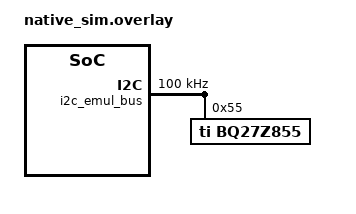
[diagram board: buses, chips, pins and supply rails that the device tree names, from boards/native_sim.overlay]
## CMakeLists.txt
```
# SPDX-License-Identifier: Apache-2.0

cmake_minimum_required(VERSION 3.20.0)
find_package(Zephyr REQUIRED HINTS $ENV{ZEPHYR_BASE})
project(bq27z8xx_buffer_props)

target_sources(app PRIVATE src/test_bq27z8xx_buffer_props.c)

# BQ27Z8XX_BUFFER_PROP_* and BQ27Z855_BUFFER_PROP_* are in driver-private headers.
target_include_directories(app PRIVATE ${ZEPHYR_BASE}/drivers/fuel_gauge/bq27z8xx)
```

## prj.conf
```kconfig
CONFIG_ZTEST=y
CONFIG_LOG=y
CONFIG_FUEL_GAUGE=y
```

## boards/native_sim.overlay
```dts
/*
 * SPDX-License-Identifier: Apache-2.0
 */

/ {
	i2c_emul_bus: i2c@100 {
		compatible = "zephyr,i2c-emul-controller";
		status = "okay";
		reg = <0x100 0x10>;
		#address-cells = <1>;
		#size-cells = <0>;
		clock-frequency = <100000>;

		bq27z855: bq27z855@55 {
			compatible = "ti,bq27z855";
			status = "okay";
			reg = <0x55>;
		};
	};
};
```

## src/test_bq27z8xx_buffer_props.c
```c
/*
 * Copyright (c) 2026, Texas Instruments Incorporated
 *
 * SPDX-License-Identifier: Apache-2.0
 */

#include <zephyr/device.h>
#include <zephyr/logging/log.h>
#include <zephyr/ztest.h>
#include <zephyr/ztest_assert.h>
#include <zephyr/drivers/fuel_gauge.h>

#include "bq27z855.h"

LOG_MODULE_REGISTER(test_bq27z8xx_buffer_props, LOG_LEVEL_DBG);

struct bq27z8xx_buffer_props_fixture {
	const struct device *dev;
};

static void *bq27z8xx_buffer_props_setup(void)
{
	static ZTEST_DMEM struct bq27z8xx_buffer_props_fixture fixture;

	fixture.dev = DEVICE_DT_GET_ANY(ti_bq27z855);

	zassert_true(device_is_ready(fixture.dev), "BQ27Z8XX device not ready");

	return &fixture;
}

/*
 * Common buffer properties — all defined in bq27z8xx_common.h.
 * Each must return 0 and report a length byte equal to sizeof(struct) - 1.
 *
 * DEVICETYPE and FIRMWAREVERSION are omitted here because they are already
 * exercised in the i2c_stress_test suite; this test targets the six
 * properties that have no prior coverage.
 */
ZTEST_F(bq27z8xx_buffer_props, test_common_buffer_props)
{
	int ret;

	/* HardwareVersion: 1-byte length + 2-byte hw_version = 3 bytes total */
	struct bq27z8xx_hardware_version hw_ver;

	ret = fuel_gauge_get_buffer_prop(fixture->dev, BQ27Z8XX_BUFFER_PROP_HARDWAREVERSION,
					 &hw_ver, sizeof(hw_ver));
	zassert_ok(ret, "HARDWAREVERSION failed: %d", ret);
	zassert_equal(hw_ver.length, sizeof(hw_ver) - 1,
		      "HARDWAREVERSION length: expected %zu got %u",
		      sizeof(hw_ver) - 1, hw_ver.length);

	/* IFSignature: 1-byte length + 2-byte signature = 3 bytes */
	struct bq27z8xx_if_signature if_sig;

	ret = fuel_gauge_get_buffer_prop(fixture->dev, BQ27Z8XX_BUFFER_PROP_IFSIGNATURE,
					 &if_sig, sizeof(if_sig));
	zassert_ok(ret, "IFSIGNATURE failed: %d", ret);
	zassert_equal(if_sig.length, sizeof(if_sig) - 1,
		      "IFSIGNATURE length: expected %zu got %u",
		      sizeof(if_sig) - 1, if_sig.length);

	/* StaticDFSignature: 1-byte length + 2-byte signature = 3 bytes */
	struct bq27z8xx_static_df_signature sdf_sig;

	ret = fuel_gauge_get_buffer_prop(fixture->dev, BQ27Z8XX_BUFFER_PROP_STATICDFSIGNATURE,
					 &sdf_sig, sizeof(sdf_sig));
	zassert_ok(ret, "STATICDFSIGNATURE failed: %d", ret);
	zassert_equal(sdf_sig.length, sizeof(sdf_sig) - 1,
		      "STATICDFSIGNATURE length: expected %zu got %u",
		      sizeof(sdf_sig) - 1, sdf_sig.length);

	/* StaticChemDFSignature: 1-byte length + 2-byte signature = 3 bytes */
	struct bq27z8xx_static_chem_df_signature scdf_sig;

	ret = fuel_gauge_get_buffer_prop(fixture->dev, BQ27Z8XX_BUFFER_PROP_STATICCHEMDFSIGNATURE,
					 &scdf_sig, sizeof(scdf_sig));
	zassert_ok(ret, "STATICCHEMDFSIGNATURE failed: %d", ret);
	zassert_equal(scdf_sig.length, sizeof(scdf_sig) - 1,
		      "STATICCHEMDFSIGNATURE length: expected %zu got %u",
		      sizeof(scdf_sig) - 1, scdf_sig.length);

	/* AllDFSignature: 1-byte length + 2-byte signature = 3 bytes */
	struct bq27z8xx_all_df_signature adf_sig;

	ret = fuel_gauge_get_buffer_prop(fixture->dev, BQ27Z8XX_BUFFER_PROP_ALLDFSIGNATURE,
					 &adf_sig, sizeof(adf_sig));
	zassert_ok(ret, "ALLDFSIGNATURE failed: %d", ret);
	zassert_equal(adf_sig.length, sizeof(adf_sig) - 1,
		      "ALLDFSIGNATURE length: expected %zu got %u",
		      sizeof(adf_sig) - 1, adf_sig.length);

	/*
	 * SecurityKeys (0x0035) is a privileged MAC command: it is only
	 * accessible when the device is in UNSEALED or FULL ACCESS mode.
	 * On a sealed device (power-on default) the command is silently
	 * ignored — the 0x3E buffer retains the previous command's echo,
	 * causing the driver's echo check to fail with -EIO.
	 * Accept 0 (unsealed hardware or emulator) or -EIO (sealed hardware).
	 */
	struct bq27z8xx_security_keys sec_keys;

	ret = fuel_gauge_get_buffer_prop(fixture->dev, BQ27Z8XX_BUFFER_PROP_SECURITYKEYS,
					 &sec_keys, sizeof(sec_keys));
	zassert_true(ret == 0 || ret == -EIO,
		     "SECURITYKEYS: expected 0 or -EIO (sealed), got %d", ret);
	if (ret == 0) {
		zassert_equal(sec_keys.length, sizeof(sec_keys) - 1,
			      "SECURITYKEYS length: expected %zu got %u",
			      sizeof(sec_keys) - 1, sec_keys.length);
	}
}

/*
 * bq27z855-specific buffer properties — all 12 defined in bq27z855.h.
 * Each must return 0 and report a length byte equal to sizeof(struct) - 1.
 *
 * NOLOADREMCAP, CHARGINGSTATUSEXT, ACCUMULATIONCHARGETHRESHOLD, and
 * ACCUMULATIONDISCHARGETHRESHOLD are marked "TODO: Check support" in the
 * header (hardware verification pending) but the emulator handles them,
 * so they are expected to return 0 here.
 */
ZTEST_F(bq27z8xx_buffer_props, test_855_buffer_props)
{
	int ret;

	/* SafetyAlert: 1-byte length + 4-byte flags = 5 bytes */
	struct bq27z855_safety_alert safety_alert;

	ret = fuel_gauge_get_buffer_prop(fixture->dev, BQ27Z855_BUFFER_PROP_SAFETYALERT,
					 &safety_alert, sizeof(safety_alert));
	zassert_ok(ret, "SAFETYALERT failed: %d", ret);
	zassert_equal(safety_alert.length, sizeof(safety_alert) - 1,
		      "SAFETYALERT length: expected %zu got %u",
		      sizeof(safety_alert) - 1, safety_alert.length);

	/* SafetyStatus: 1-byte length + 4-byte flags = 5 bytes */
	struct bq27z855_safety_status safety_status;

	ret = fuel_gauge_get_buffer_prop(fixture->dev, BQ27Z855_BUFFER_PROP_SAFETYSTATUS,
					 &safety_status, sizeof(safety_status));
	zassert_ok(ret, "SAFETYSTATUS failed: %d", ret);
	zassert_equal(safety_status.length, sizeof(safety_status) - 1,
		      "SAFETYSTATUS length: expected %zu got %u",
		      sizeof(safety_status) - 1, safety_status.length);

	/* PFAlert: 1-byte length + 4-byte flags = 5 bytes */
	struct bq27z855_pf_alert pf_alert;

	ret = fuel_gauge_get_buffer_prop(fixture->dev, BQ27Z855_BUFFER_PROP_PFALERT,
					 &pf_alert, sizeof(pf_alert));
	zassert_ok(ret, "PFALERT failed: %d", ret);
	zassert_equal(pf_alert.length, sizeof(pf_alert) - 1,
		      "PFALERT length: expected %zu got %u",
		      sizeof(pf_alert) - 1, pf_alert.length);

	/* PFStatus: 1-byte length + 4-byte flags = 5 bytes */
	struct bq27z855_pf_status pf_status;

	ret = fuel_gauge_get_buffer_prop(fixture->dev, BQ27Z855_BUFFER_PROP_PFSTATUS,
					 &pf_status, sizeof(pf_status));
	zassert_ok(ret, "PFSTATUS failed: %d", ret);
	zassert_equal(pf_status.length, sizeof(pf_status) - 1,
		      "PFSTATUS length: expected %zu got %u",
		      sizeof(pf_status) - 1, pf_status.length);

	/* OperationStatus: 1-byte length + 4-byte flags = 5 bytes */
	struct bq27z855_operation_status op_status;

	ret = fuel_gauge_get_buffer_prop(fixture->dev, BQ27Z855_BUFFER_PROP_OPERATIONSTATUS,
					 &op_status, sizeof(op_status));
	zassert_ok(ret, "OPERATIONSTATUS failed: %d", ret);
	zassert_equal(op_status.length, sizeof(op_status) - 1,
		      "OPERATIONSTATUS length: expected %zu got %u",
		      sizeof(op_status) - 1, op_status.length);

	/* ChargingStatus: 1-byte length + 5-byte flags = 6 bytes */
	struct bq27z855_charging_status chg_status;

	ret = fuel_gauge_get_buffer_prop(fixture->dev, BQ27Z855_BUFFER_PROP_CHARGINGSTATUS,
					 &chg_status, sizeof(chg_status));
	zassert_ok(ret, "CHARGINGSTATUS failed: %d", ret);
	zassert_equal(chg_status.length, sizeof(chg_status) - 1,
		      "CHARGINGSTATUS length: expected %zu got %u",
		      sizeof(chg_status) - 1, chg_status.length);

	/* GaugingStatus: 1-byte length + 5-byte flags = 6 bytes */
	struct bq27z855_gauging_status gau_status;

	ret = fuel_gauge_get_buffer_prop(fixture->dev, BQ27Z855_BUFFER_PROP_GAUGINGSTATUS,
					 &gau_status, sizeof(gau_status));
	zassert_ok(ret, "GAUGINGSTATUS failed: %d", ret);
	zassert_equal(gau_status.length, sizeof(gau_status) - 1,
		      "GAUGINGSTATUS length: expected %zu got %u",
		      sizeof(gau_status) - 1, gau_status.length);

	/* ManufacturingStatus: 1-byte length + 2-byte flags = 3 bytes */
	struct bq27z855_manufacturing_status mfg_status;

	ret = fuel_gauge_get_buffer_prop(fixture->dev, BQ27Z855_BUFFER_PROP_MANUFACTURINGSTATUS,
					 &mfg_status, sizeof(mfg_status));
	zassert_ok(ret, "MANUFACTURINGSTATUS failed: %d", ret);
	zassert_equal(mfg_status.length, sizeof(mfg_status) - 1,
		      "MANUFACTURINGSTATUS length: expected %zu got %u",
		      sizeof(mfg_status) - 1, mfg_status.length);

	/*
	 * The following four props are marked "TODO: Check support" in bq27z855.h
	 * (hardware verification pending).  The emulator supports them, so 0 is
	 * expected here; -ENOTSUP would also be acceptable if hardware support is
	 * removed in a future revision.
	 */

	/* NoLoadRemCap: 1-byte length + 2-byte capacity = 3 bytes */
	struct bq27z855_no_load_rem_cap no_load_cap;

	ret = fuel_gauge_get_buffer_prop(fixture->dev, BQ27Z855_BUFFER_PROP_NOLOADREMCAP,
					 &no_load_cap, sizeof(no_load_cap));
	zassert_true(ret == 0 || ret == -ENOTSUP,
		     "NOLOADREMCAP: expected 0 or -ENOTSUP, got %d", ret);
	if (ret == 0) {
		zassert_equal(no_load_cap.length, sizeof(no_load_cap) - 1,
			      "NOLOADREMCAP length: expected %zu got %u",
			      sizeof(no_load_cap) - 1, no_load_cap.length);
	}

	/* ChargingStatusExt: 1-byte length + 4-byte flags = 5 bytes */
	struct bq27z855_charging_status_ext chg_status_ext;

	ret = fuel_gauge_get_buffer_prop(fixture->dev, BQ27Z855_BUFFER_PROP_CHARGINGSTATUSEXT,
					 &chg_status_ext, sizeof(chg_status_ext));
	zassert_true(ret == 0 || ret == -ENOTSUP,
		     "CHARGINGSTATUSEXT: expected 0 or -ENOTSUP, got %d", ret);
	if (ret == 0) {
		zassert_equal(chg_status_ext.length, sizeof(chg_status_ext) - 1,
			      "CHARGINGSTATUSEXT length: expected %zu got %u",
			      sizeof(chg_status_ext) - 1, chg_status_ext.length);
	}

	/* AccumulationChargeThreshold: 1-byte length + 2-byte threshold = 3 bytes */
	struct bq27z855_accumulation_charge_threshold acc_chg_thr;

	ret = fuel_gauge_get_buffer_prop(fixture->dev,
					 BQ27Z855_BUFFER_PROP_ACCUMULATIONCHARGETHRESHOLD,
					 &acc_chg_thr, sizeof(acc_chg_thr));
	zassert_true(ret == 0 || ret == -ENOTSUP,
		     "ACCUMULATIONCHARGETHRESHOLD: expected 0 or -ENOTSUP, got %d", ret);
	if (ret == 0) {
		zassert_equal(acc_chg_thr.length, sizeof(acc_chg_thr) - 1,
			      "ACCUMULATIONCHARGETHRESHOLD length: expected %zu got %u",
			      sizeof(acc_chg_thr) - 1, acc_chg_thr.length);
	}

	/* AccumulationDischargeThreshold: 1-byte length + 2-byte threshold = 3 bytes */
	struct bq27z855_accumulation_discharge_threshold acc_dsg_thr;

	ret = fuel_gauge_get_buffer_prop(fixture->dev,
					 BQ27Z855_BUFFER_PROP_ACCUMULATIONDISCHARGETHRESHOLD,
					 &acc_dsg_thr, sizeof(acc_dsg_thr));
	zassert_true(ret == 0 || ret == -ENOTSUP,
		     "ACCUMULATIONDISCHARGETHRESHOLD: expected 0 or -ENOTSUP, got %d", ret);
	if (ret == 0) {
		zassert_equal(acc_dsg_thr.length, sizeof(acc_dsg_thr) - 1,
			      "ACCUMULATIONDISCHARGETHRESHOLD length: expected %zu got %u",
			      sizeof(acc_dsg_thr) - 1, acc_dsg_thr.length);
	}
}

/*
 * Passing a dst_len that does not exactly match the expected struct size must
 * return -EINVAL.  Uses BQ27Z8XX_BUFFER_PROP_DEVICETYPE (struct size = 3) with
 * dst_len = 1 to trigger the size mismatch.
 */
ZTEST_F(bq27z8xx_buffer_props, test_buffer_prop_wrong_dst_len_returns_einval)
{
	uint8_t small_buf[1];
	int ret;

	ret = fuel_gauge_get_buffer_prop(fixture->dev, BQ27Z8XX_BUFFER_PROP_DEVICETYPE,
					 small_buf, sizeof(small_buf));
	zassert_equal(ret, -EINVAL,
		      "get_buffer_prop(DEVICETYPE, dst_len=1) should be -EINVAL, got %d", ret);
}

/*
 * An unrecognised property ID must be rejected with -ENOTSUP by both the
 * variant handler and the common handler.
 */
ZTEST_F(bq27z8xx_buffer_props, test_buffer_prop_unsupported_id_returns_enotsup)
{
	uint8_t buf[4];
	int ret;

	ret = fuel_gauge_get_buffer_prop(fixture->dev, (fuel_gauge_prop_t)0x7FFF,
					 buf, sizeof(buf));
	zassert_equal(ret, -ENOTSUP,
		      "get_buffer_prop(invalid) should be -ENOTSUP, got %d", ret);
}

ZTEST_SUITE(bq27z8xx_buffer_props, NULL, bq27z8xx_buffer_props_setup, NULL, NULL, NULL);
```
